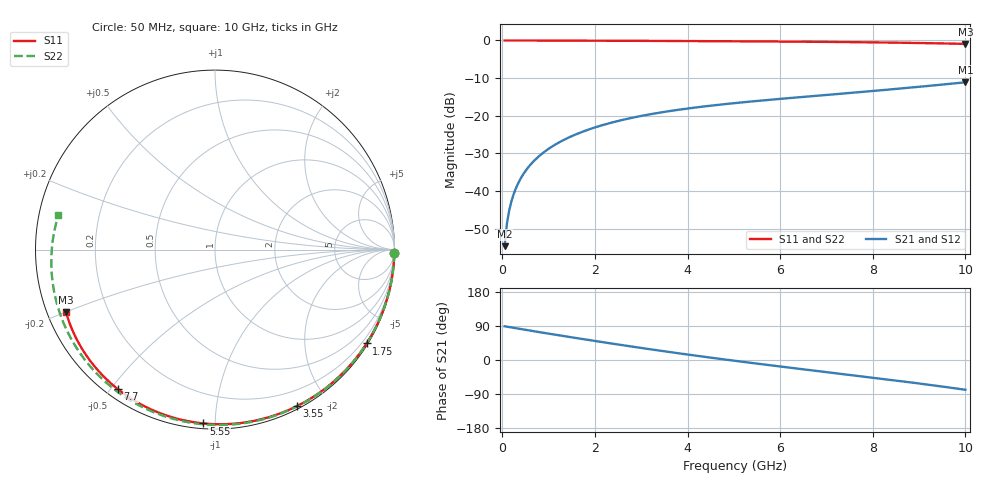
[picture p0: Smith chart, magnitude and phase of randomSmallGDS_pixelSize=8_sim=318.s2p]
! freq	dB(S11)	phase(S11)	dB(S12)	phase(S12)
!  dB(S21)	phase(S21)	dB(S22)	phase(S22)
!S-par simulation data
#  GHz  S  DB  R 50
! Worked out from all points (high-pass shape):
!   200 points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, 50 MHz to 10 GHz, reference 50 ohm
!   highest |S21| = -11.11 dB at 10 GHz (marker M1); lowest = -54.6 dB at 50 MHz (marker M2)
!   |S21| within 3 dB of the highest: 7.344 GHz to end of sweep
!   lowest |S11| = -0.9 dB at 10 GHz (marker M3), VSWR 19.01, Z = 2.74 - j10 ohm
!   |S11| at or under -10 dB: nowhere
!   |S22| runs from -1.0 to 0.0 dB; largest |S21 - S12| = 0
!   S11 on the Smith chart (normalised r, x): 50 MHz: open; 1.75 GHz: 0.04, -3.51; 3.55 GHz: 0.03, -1.65; 5.55 GHz: 0.03, -0.94; 7.7 GHz: 0.03, -0.52; 10 GHz: 0.05, -0.20
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0.05  -0.01 -0.9  -54.61 89.0  -54.61 89.0  -0.01 -1.1
0.1  -0.01 -1.9  -48.59 87.9  -48.59 87.9  -0.01 -2.2
0.15  -0.01 -2.8  -45.07 86.9  -45.07 86.9  -0.01 -3.3
0.2  -0.01 -3.7  -42.57 85.8  -42.57 85.8  -0.01 -4.4
0.25  -0.01 -4.6  -40.64 84.8  -40.64 84.8  -0.01 -5.5
0.35  -0.01 -6.4  -37.73 82.7  -37.73 82.7  -0.01 -7.7
0.5  -0.01 -9.2  -34.66 79.6  -34.66 79.6  -0.02 -11.0
0.7  -0.02 -12.9  -31.78 75.6  -31.78 75.6  -0.02 -15.4
1  -0.03 -18.3  -28.76 69.6  -28.76 69.6  -0.03 -21.9
1.35  -0.04 -24.6  -26.26 62.7  -26.26 62.7  -0.05 -29.4
1.75  -0.06 -31.8  -24.15 55.0  -24.15 55.0  -0.06 -37.9
2.6  -0.09 -46.6  -21.08 39.0  -21.08 39.0  -0.10 -55.4
3.4  -0.13 -60.1  -19.16 24.7  -19.16 24.7  -0.14 -71.3
3.55  -0.14 -62.5  -18.87 22.1  -18.87 22.1  -0.15 -74.2
4.3  -0.18 -74.6  -17.61 9.5  -17.61 9.5  -0.20 -88.4
5.05  -0.22 -86.3  -16.59 -2.6  -16.59 -2.6  -0.25 -102.2
5.55  -0.26 -93.8  -16.01 -10.3  -16.01 -10.3  -0.28 -111.1
6.7  -0.36 -110.6  -14.78 -27.5  -14.78 -27.5  -0.39 -131.2
7.7  -0.47 -124.8  -13.74 -42.2  -13.74 -42.2  -0.51 -148.8
8.35  -0.56 -133.9  -13.04 -51.9  -13.04 -51.9  -0.62 -160.4
9.2  -0.72 -145.9  -12.07 -65.2  -12.07 -65.2  -0.78 -176.3
10  -0.91 -157.3  -11.11 -78.5  -11.11 -78.5  -0.98 167.6
